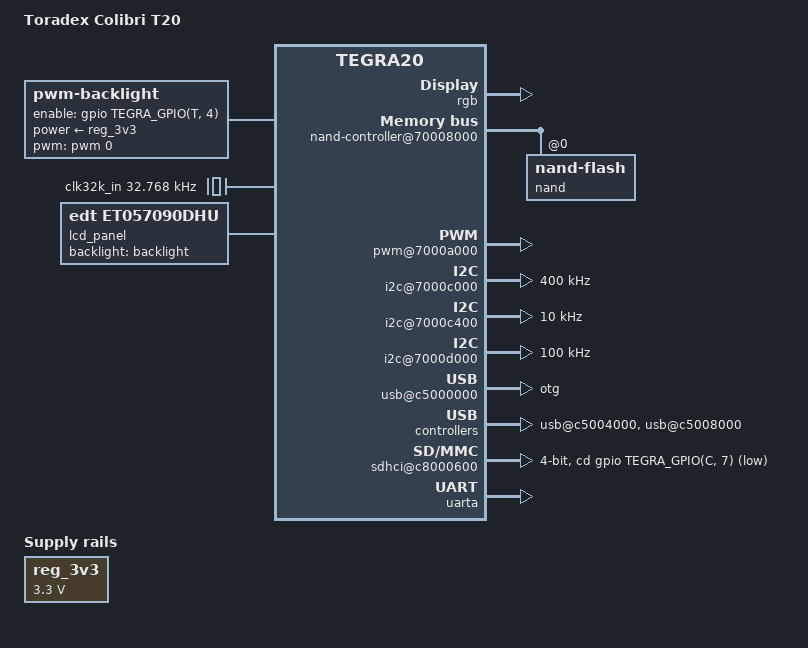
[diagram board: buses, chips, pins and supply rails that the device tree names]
/dts-v1/;

#include "tegra20.dtsi"

/ {
	model = "Toradex Colibri T20";
	compatible = "toradex,colibri_t20", "nvidia,tegra20";

	chosen {
		stdout-path = &uarta;
	};

	aliases {
		i2c0 = "/i2c@7000d000";
		i2c1 = "/i2c@7000c000";
		i2c2 = "/i2c@7000c400";
		mmc0 = "/sdhci@c8000600";
		usb0 = "/usb@c5000000";
		usb1 = "/usb@c5004000"; /* On-module only, for ASIX */
		usb2 = "/usb@c5008000";
	};

	host1x@50000000 {
		dc@54200000 {
			rgb {
				status = "okay";
				nvidia,panel = <&lcd_panel>;
				display-timings {
					timing@0 {
						/* VESA VGA */
						clock-frequency = <25175000>;
						hactive = <640>;
						vactive = <480>;
						hback-porch = <48>;
						hfront-porch = <16>;
						hsync-len = <96>;
						vback-porch = <31>;
						vfront-porch = <11>;
						vsync-len = <2>;
					};
				};
			};
		};
	};

	nand-controller@70008000 {
		nvidia,wp-gpios = <&gpio TEGRA_GPIO(S, 0) GPIO_ACTIVE_HIGH>;
		nvidia,width = <8>;
		nvidia,timing = <15 100 25 80 25 10 15 10 100>;

		nand@0 {
			reg = <0>;
			compatible = "nand-flash";
		};
	};

	pwm@7000a000 {
		status = "okay";
	};

	/*
	 * GEN1_I2C: I2C_SDA/SCL on SODIMM pin 194/196 (e.g. RTC on carrier
	 * board)
	 */
	i2c@7000c000 {
		status = "okay";
		clock-frequency = <400000>;
	};

	/* GEN2_I2C: unused */

	/* DDC_CLOCK/DATA on X3 pin 15/16 (e.g. display EDID) */
	i2c@7000c400 {
		status = "okay";
		clock-frequency = <10000>;
	};

	/*
	 * PWR_I2C: power I2C to PMIC and temperature sensor
	 */
	i2c@7000d000 {
		status = "okay";
		clock-frequency = <100000>;
	};

	/* EHCI instance 0: USB1_DP/N -> USBC_P/N */
	usb@c5000000 {
		status = "okay";
		dr_mode = "otg";
	};

	/* EHCI instance 1: ULPI -> USB3340 -> AX88772B */
	usb@c5004000 {
		status = "okay";
		/* ULPI_RESET */
		nvidia,phy-reset-gpio =
				<&gpio TEGRA_GPIO(V, 1) GPIO_ACTIVE_LOW>;
		/* VBUS_LAN */
		nvidia,vbus-gpio = <&gpio TEGRA_GPIO(BB, 1) GPIO_ACTIVE_HIGH>;
	};

	/* EHCI instance 2: USB3_DP/N -> USBH_P/N */
	usb@c5008000 {
		status = "okay";
		/* USBH_PEN */
		nvidia,vbus-gpio = <&gpio TEGRA_GPIO(W, 2) GPIO_ACTIVE_LOW>;
	};

	sdhci@c8000600 {
		status = "okay";
		bus-width = <4>;
		cd-gpios = <&gpio TEGRA_GPIO(C, 7) GPIO_ACTIVE_LOW>;
	};

	backlight: backlight {
		compatible = "pwm-backlight";

		brightness-levels = <255 128 64 32 16 8 4 0>;
		default-brightness-level = <6>;
		/* BL_ON */
		enable-gpios = <&gpio TEGRA_GPIO(T, 4) GPIO_ACTIVE_HIGH>;
		power-supply = <&reg_3v3>;
		/* PWM<A> */
		pwms = <&pwm 0 5000000>;
	};

	clocks {
		compatible = "simple-bus";
		#address-cells = <1>;
		#size-cells = <0>;

		clk32k_in: clock@0 {
			compatible = "fixed-clock";
			reg=<0>;
			#clock-cells = <0>;
			clock-frequency = <32768>;
		};
	};

	lcd_panel: panel {
		/*
		 * edt,et057090dhu: EDT 5.7" LCD TFT
		 * edt,et070080dh6: EDT 7.0" LCD TFT
		 */
		compatible = "edt,et057090dhu", "simple-panel";

		backlight = <&backlight>;
	};

	regulators {
		compatible = "simple-bus";
		#address-cells = <1>;
		#size-cells = <0>;

		reg_3v3: regulator@0 {
			compatible = "regulator-fixed";
			reg = <0>;
			regulator-name = "+V3.3";
			regulator-min-microvolt = <3300000>;
			regulator-max-microvolt = <3300000>;
			regulator-always-on;
		};
	};
};

&uarta {
	status = "okay";
};
